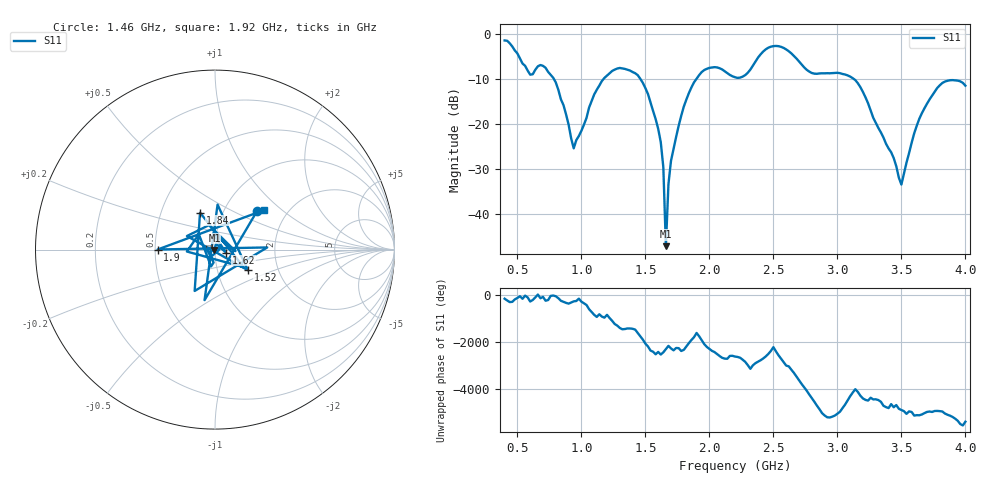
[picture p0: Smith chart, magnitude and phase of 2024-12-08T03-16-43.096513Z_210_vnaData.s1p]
!Created with skrf (http://scikit-rf.org).
# Hz S RI R 50.0
!freq ReS11 ImS11
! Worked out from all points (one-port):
!   181 points, 400 MHz to 4 GHz, reference 50 ohm
!   lowest |S11| = -47.0 dB at 1.66 GHz (marker M1), VSWR 1.01, Z = 49.7 - j0.279 ohm
!   |S11| at or under -10 dB: 785.6 MHz to 1.172 GHz (386.6 MHz wide, 39.5 % of centre); 1.462 GHz to 1.898 GHz (435.9 MHz wide, 26 % of centre); 3.13 GHz to end of sweep
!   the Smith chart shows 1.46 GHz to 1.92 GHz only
!   S11 on the Smith chart (normalised r, x): 1.46 GHz: 1.42, +0.68; 1.52 GHz: 1.40, -0.34; 1.62 GHz: 1.13, -0.04; 1.84 GHz: 0.78, +0.34; 1.9 GHz: 0.52, +0.00; 1.92 GHz: 1.52, +0.76
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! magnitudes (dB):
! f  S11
! 400 MHz  -1.4
! 600 MHz  -9.0
! 720 MHz  -7.5
! 860 MHz  -15.8
! 940 MHz  -25.3
! 1.12 GHz  -12.4
! 1.3 GHz  -7.5
! 1.46 GHz  -9.9
! 1.52 GHz  -13.3
! 1.62 GHz  -24.0
! 1.64 GHz  -29.5
! 1.66 GHz  -47.0
! 1.68 GHz  -33.3
! 1.76 GHz  -20.3
! 1.84 GHz  -13.1
! 1.9 GHz  -9.9
! 1.92 GHz  -9.1
! 2.2 GHz  -9.6
! 2.48 GHz  -2.8
! 2.66 GHz  -4.8
! 2.8 GHz  -8.6
! 3.1 GHz  -9.4
! 3.22 GHz  -14.1
! 3.5 GHz  -33.4
! 3.56 GHz  -26.4
! 3.64 GHz  -18.8
! 3.78 GHz  -12.0
! 4 GHz  -11.5
